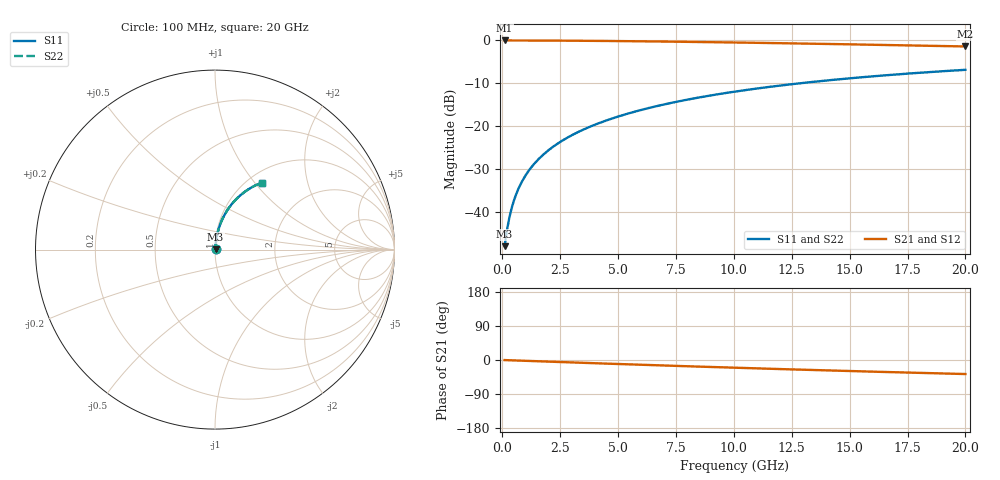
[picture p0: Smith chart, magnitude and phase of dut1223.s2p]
! Touchstone file exported from HFSS 2024.1.0
!  File:  C:/UserFiles/LocalFiles/RDL_TSV_Batchsim/temp_RDL_top_1223_1780240313.aedt
!  Generated:  11:14:17 PM May 31, 2026
!  Design:  RDL_top
!  Project:  temp_RDL_top_1223_1780240313
!  Setup:  Setup1
!  Solution:  Sweep
! Variables:
!  dtsv = 10.80580581um
!  hbump = 3um
!  htsv = 69.91um
!  ldown = 100um
!  lrdl = 434.58um
!  p = 40
!  p1 = 57.88um
!  rhole = 1um
!  t = 450um
!  tdown = 3.915915916um
!  trdl = 4.86um
!  wdown = 15.38538539um
!  wrdl = 10.66um
# GHz S MA R 50.000000
! Terminal data exported
! Port[1] = Box2_T1
! Port[2] = Box2_T2
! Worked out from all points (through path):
!   200 points, 100 MHz to 20 GHz, reference 50 ohm
!   highest |S21| = -0.03 dB at 100 MHz (marker M1); lowest = -1.4 dB at 20 GHz (marker M2)
!   group delay of S21, straight-line fit = 5.14 ps
!   lowest |S11| = -47.9 dB at 100 MHz (marker M3), VSWR 1.01, Z = 50.3 + j0.27 ohm
!   |S11| at or under -10 dB: start of sweep to 12.83 GHz
!   |S22| runs from -47.9 to -6.9 dB; largest |S21 - S12| = 6.6e-15
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0.1  0.004046 41.6  0.997 -0.2  0.997 -0.2  0.004046 41.6
! Gamma 0 0 0 0
! Port Impedance 50 0 50 0
0.2  0.006158 60.5  0.9969 -0.4  0.9969 -0.4  0.006159 60.5
0.3  0.008582 69.1  0.9968 -0.7  0.9968 -0.7  0.008583 69.1
0.4  0.01111 73.7  0.9968 -0.9  0.9968 -0.9  0.01111 73.7
0.5  0.01369 76.5  0.9966 -1.1  0.9966 -1.1  0.01369 76.5
0.6  0.01628 78.3  0.9965 -1.3  0.9965 -1.3  0.01629 78.3
0.8  0.02151 80.4  0.9963 -1.7  0.9963 -1.7  0.02151 80.4
1.1  0.02937 81.9  0.9958 -2.4  0.9958 -2.4  0.02938 81.9
1.5  0.03985 82.6  0.9951 -3.2  0.9951 -3.2  0.03985 82.6
1.8  0.04768 82.7  0.9944 -3.9  0.9944 -3.9  0.04768 82.7
2.1  0.05549 82.6  0.9936 -4.5  0.9936 -4.5  0.05549 82.7
2.7  0.07105 82.2  0.9917 -5.8  0.9917 -5.8  0.07105 82.2
3.5  0.09168 81.3  0.9885 -7.5  0.9885 -7.5  0.09168 81.3
4.2  0.1096 80.4  0.9852 -8.9  0.9852 -8.9  0.1096 80.4
5  0.13 79.2  0.9809 -10.6  0.9809 -10.6  0.13 79.2
5.9  0.1527 77.8  0.9754 -12.4  0.9754 -12.4  0.1527 77.8
6.8  0.1752 76.4  0.9694 -14.2  0.9694 -14.2  0.1752 76.4
8.3  0.212 73.9  0.9584 -17.1  0.9584 -17.1  0.212 73.9
10.1  0.2547 70.9  0.9437 -20.5  0.9437 -20.5  0.2548 70.9
13.4  0.3285 65.4  0.914 -26.4  0.914 -26.4  0.3286 65.4
16.7  0.3952 60.1  0.8819 -31.9  0.8819 -31.9  0.3953 60.1
20  0.4543 55.1  0.8488 -37.0  0.8488 -37.0  0.4543 55.1
